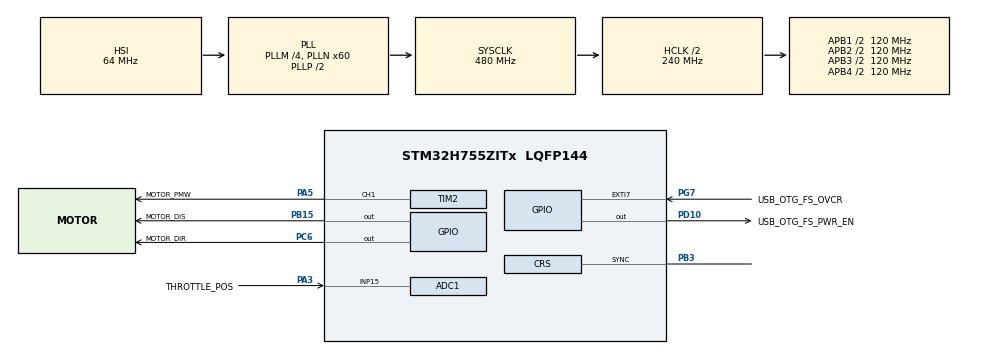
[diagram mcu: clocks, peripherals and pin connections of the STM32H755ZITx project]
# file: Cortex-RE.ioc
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ADC1.Channel-1\#ChannelRegularConversion=ADC_CHANNEL_15
ADC1.ContinuousConvMode=ENABLE
ADC1.NbrOfConversionFlag=1
ADC1.OffsetNumber-1\#ChannelRegularConversion=ADC_OFFSET_NONE
ADC1.OffsetSignedSaturation-1\#ChannelRegularConversion=DISABLE
ADC1.Rank-1\#ChannelRegularConversion=1
ADC1.SamplingTime-1\#ChannelRegularConversion=ADC_SAMPLETIME_1CYCLE_5
ADC1.master=1
CortexM4.IPs=FATFS_M4\:I,FREERTOS_M4\:I,IWDG2\:I,RCC,WWDG2\:I,DMA,BDMA,MDMA,NVIC2\:I,ETH,USART3,DEBUG,PDM2PCM_M4\:I,PWR,RESMGR_UTILITY,SYS_M4\:I,USB_DEVICE_M4\:I,USB_HOST_M4\:I,CORTEX_M4\:I,GPIO,OPENAMP_M4\:I,VREFBUF,NUCLEO-H755ZI-Q
CortexM7.IPs=FATFS_M7\:I,FREERTOS_M7\:I,IWDG1\:I,RCC\:I,WWDG1\:I,DMA\:I,BDMA\:I,MDMA\:I,NVIC1\:I,ETH\:I,USART3\:I,USB_OTG_FS\:I,USB_OTG_FS1\:I,SYS\:I,CORTEX_M7\:I,DEBUG\:I,PDM2PCM_M7\:I,PWR\:I,RESMGR_UTILITY\:I,USB_DEVICE_M7\:I,USB_HOST_M7\:I,GPIO\:I,OPENAMP_M7\:I,VREFBUF\:I,NUCLEO-H755ZI-Q\:I,ADC1\:I,TIM2\:I
CortexM7.Pins=PB15,PD10,PG7,PC6
Mcu.Family=STM32H7
Mcu.Name=STM32H755ZITx
Mcu.Package=LQFP144
NUCLEO-H755ZI-Q.BUTTON=1
NUCLEO-H755ZI-Q.LD1=true
NUCLEO-H755ZI-Q.LD2=true
NUCLEO-H755ZI-Q.LD3=true
NUCLEO-H755ZI-Q.VCP=true
NVIC1.EXTI15_10_IRQn=true\:0\:0\:false\:false\:true\:false\:true\:true
NVIC1.PriorityGroup=NVIC_PRIORITYGROUP_4
NVIC2.PriorityGroup=NVIC_PRIORITYGROUP_4
PA1.PinAttribute=CortexM7
PA1.Signal=ETH_REF_CLK
PA11.PinAttribute=CortexM7
PA11.Signal=USB_OTG_FS_DM
PA12.PinAttribute=CortexM7
PA12.Signal=USB_OTG_FS_DP
PA2.PinAttribute=CortexM7
PA2.Signal=ETH_MDIO
PA3.GPIO_Label=THROTTLE_POS
PA3.PinAttribute=CortexM7
PA3.Signal=ADCx_INP15
PA5.GPIO_Label=MOTOR_PMW
PA5.PinAttribute=CortexM7
PA5.Signal=S_TIM2_CH1_ETR
PA7.PinAttribute=CortexM7
PA7.Signal=ETH_CRS_DV
PA8.PinAttribute=CortexM7
PA8.Signal=USB_OTG_FS_SOF
PA9.PinAttribute=CortexM7
PA9.Signal=USB_OTG_FS_VBUS
PB13.PinAttribute=CortexM7
PB13.Signal=ETH_TXD1
PB15.GPIO_Label=MOTOR_DIS
PB15.PinAttribute=CortexM7
PB15.PinState=GPIO_PIN_SET
PB15.Signal=GPIO_Output
PB3\ (JTDO/TRACESWO).GPIO_Mode=GPIO_MODE_AF_PP
PB3\ (JTDO/TRACESWO).GPIO_PuPd=GPIO_NOPULL
PB3\ (JTDO/TRACESWO).GPIO_Speed=GPIO_SPEED_FREQ_LOW
PB3\ (JTDO/TRACESWO).Mode=CRS SYNC Source GPIO
PB3\ (JTDO/TRACESWO).PinAttribute=Free
PB3\ (JTDO/TRACESWO).Signal=CRS_SYNC
PC1.PinAttribute=CortexM7
PC1.Signal=ETH_MDC
PC14-OSC32_IN\ (OSC32_IN).Mode=LSE-External-Oscillator
PC14-OSC32_IN\ (OSC32_IN).PinAttribute=Free
PC14-OSC32_IN\ (OSC32_IN).Signal=RCC_OSC32_IN
PC15-OSC32_OUT\ (OSC32_OUT).Mode=LSE-External-Oscillator
PC15-OSC32_OUT\ (OSC32_OUT).PinAttribute=Free
PC15-OSC32_OUT\ (OSC32_OUT).Signal=RCC_OSC32_OUT
PC4.PinAttribute=CortexM7
PC4.Signal=ETH_RXD0
PC5.PinAttribute=CortexM7
PC5.Signal=ETH_RXD1
PC6.GPIO_Label=MOTOR_DIR
PC6.PinAttribute=CortexM7
PC6.Signal=GPIO_Output
PD10.GPIO_Label=USB_OTG_FS_PWR_EN
PD10.PinAttribute=CortexM7
PD10.Signal=GPIO_Output
PD8.Signal=USART3_TX
PD9.Signal=USART3_RX
PG11.PinAttribute=CortexM7
PG11.Signal=ETH_TX_EN
PG13.PinAttribute=CortexM7
PG13.Signal=ETH_TXD0
PG7.GPIO_Label=USB_OTG_FS_OVCR
PG7.PinAttribute=CortexM7
PG7.Signal=GPXTI7
PH0-OSC_IN\ (PH0).Mode=HSE-External-Oscillator
PH0-OSC_IN\ (PH0).PinAttribute=Free
PH0-OSC_IN\ (PH0).Signal=RCC_OSC_IN
PH1-OSC_OUT\ (PH1).Mode=HSE-External-Oscillator
PH1-OSC_OUT\ (PH1).PinAttribute=Free
PH1-OSC_OUT\ (PH1).Signal=RCC_OSC_OUT
ProjectManager.HeapSize=M4-0x200,M7-0x200
ProjectManager.StackSize=M4-0x400,M7-0x400
ProjectManager.TargetToolchain=STM32CubeIDE
RCC.ADCFreq_Value=80000000
RCC.APB1Freq_Value=120000000
RCC.APB2Freq_Value=120000000
RCC.APB3Freq_Value=120000000
RCC.APB4Freq_Value=120000000
RCC.CortexFreq_Value=480000000
RCC.D1PPRE=RCC_APB3_DIV2
RCC.D2PPRE1=RCC_APB1_DIV2
RCC.D2PPRE2=RCC_APB2_DIV2
RCC.D3PPRE=RCC_APB4_DIV2
RCC.DIVM1=4
RCC.DIVM2=4
RCC.DIVN1=60
RCC.DIVN2=10
RCC.HCLKFreq_Value=240000000
RCC.HPRE=RCC_HCLK_DIV2
RCC.PLL2FRACN=0
RCC.PLLFRACN=0
RCC.SYSCLKFreq_VALUE=480000000
RCC.SYSCLKSource=RCC_SYSCLKSOURCE_PLLCLK
RCC.USBFreq_Value=480000000
SH.ADCx_INP15.0=ADC1_INP15,IN15-Single-Ended
SH.S_TIM2_CH1_ETR.0=TIM2_CH1,PWM Generation1 CH1
TIM2.Channel-PWM\ Generation1\ CH1=TIM_CHANNEL_1
TIM2.Period=11999
TIM2.Prescaler=0
VP_NUCLEO-H755ZI-Q_VS_BSP_COMMON.Mode=COMMON
VP_SYS_M4_VS_Systick.Mode=SysTick
board=NUCLEO-H755ZI-Q

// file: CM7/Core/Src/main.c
/* USER CODE BEGIN Header */
/**
  ******************************************************************************
  * @file           : main.c
  * @brief          : Main program body
  ******************************************************************************
  * @attention
  *
  * Copyright (c) 2026 STMicroelectronics.
  * All rights reserved.
  *
  * This software is licensed under terms that can be found in the LICENSE file
  * in the root directory of this software component.
  * If no LICENSE file comes with this software, it is provided AS-IS.
  *
  ******************************************************************************
  */
/* USER CODE END Header */
#include "main.h"

/* USER CODE BEGIN Includes */
#include <stdio.h>
#include <stdlib.h>
#include <string.h>
/* USER CODE END Includes */

/* USER CODE BEGIN PD */

/* DUAL_CORE_BOOT_SYNC_SEQUENCE: Define for dual core boot synchronization    */
/*                             demonstration code based on hardware semaphore */
/* This define is present in both CM7/CM4 projects                            */
/* #define DUAL_CORE_BOOT_SYNC_SEQUENCE */

#if defined(DUAL_CORE_BOOT_SYNC_SEQUENCE)
#ifndef HSEM_ID_0
#define HSEM_ID_0 (0U) /* HW semaphore 0*/
#endif
#endif /* DUAL_CORE_BOOT_SYNC_SEQUENCE */

/* USER CODE END PD */

COM_InitTypeDef BspCOMInit;
ADC_HandleTypeDef hadc1;

TIM_HandleTypeDef htim2;

void SystemClock_Config(void);
static void MX_GPIO_Init(void);
static void MX_ADC1_Init(void);
static void MX_TIM2_Init(void);

/* USER CODE BEGIN 0 */
int __io_getchar(void) {
    uint8_t ch = 0;
    while (HAL_UART_Receive(&hcom_uart[COM1], &ch, 1, HAL_MAX_DELAY) != HAL_OK) {}
    // キーボードの入力を画面にそのままエコーバックする
    HAL_UART_Transmit(&hcom_uart[COM1], &ch, 1, 0xFFFF);
    return ch;
}
// モーターを動かす関数（引数は -100.0% 〜 100.0% のパワー）
void set_throttle_motor(float power_percent) {
    // 1. 回転方向（DIR）の決定
    if (power_percent > 0.0f) {
        // プラスなら開く方向 (環境に合わせてSET/RESETは逆にしてください)
        HAL_GPIO_WritePin(MOTOR_DIR_GPIO_Port, MOTOR_DIR_Pin, GPIO_PIN_SET);
    } else {
        // マイナスなら閉じる方向（バネに逆らって強制的に閉じる）
        HAL_GPIO_WritePin(MOTOR_DIR_GPIO_Port, MOTOR_DIR_Pin, GPIO_PIN_RESET);
        power_percent = -power_percent; // 計算用に絶対値（プラス）に戻す
    }

    // 2. パワーの限界値を100%に制限（安全装置）
    if (power_percent > 100.0f) {
        power_percent = 100.0f;
    }

    // 3. % を PWMのレジスタ値 (0 〜 999) に変換
    uint32_t pwm_value = (uint32_t)(11999.0f * (power_percent / 100.0f));

    // 4. タイマー（TIM2_CH1）の数値を更新してモーター出力！
    __HAL_TIM_SET_COMPARE(&htim2, TIM_CHANNEL_1, pwm_value);
}

/* USER CODE END 0 */

int main(void)
{

/* USER CODE BEGIN Boot_Mode_Sequence_0 */
#if defined(DUAL_CORE_BOOT_SYNC_SEQUENCE)
  int32_t timeout;
#endif /* DUAL_CORE_BOOT_SYNC_SEQUENCE */
/* USER CODE END Boot_Mode_Sequence_0 */

/* USER CODE BEGIN Boot_Mode_Sequence_1 */
#if defined(DUAL_CORE_BOOT_SYNC_SEQUENCE)
  /* Wait until CPU2 boots and enters in stop mode or timeout*/
  timeout = 0xFFFF;
  while((__HAL_RCC_GET_FLAG(RCC_FLAG_D2CKRDY) != RESET) && (timeout-- > 0));
  if ( timeout < 0 )
  {
  Error_Handler();
  }
#endif /* DUAL_CORE_BOOT_SYNC_SEQUENCE */
/* USER CODE END Boot_Mode_Sequence_1 */
  /* MCU Configuration--------------------------------------------------------*/

  /* Reset of all peripherals, Initializes the Flash interface and the Systick. */
  HAL_Init();

  /* Configure the system clock */
  SystemClock_Config();
/* USER CODE BEGIN Boot_Mode_Sequence_2 */
#if defined(DUAL_CORE_BOOT_SYNC_SEQUENCE)
/* When system initialization is finished, Cortex-M7 will release Cortex-M4 by means of
HSEM notification */
/*HW semaphore Clock enable*/
__HAL_RCC_HSEM_CLK_ENABLE();
/*Take HSEM */
HAL_HSEM_FastTake(HSEM_ID_0);
/*Release HSEM in order to notify the CPU2(CM4)*/
HAL_HSEM_Release(HSEM_ID_0,0);
/* wait until CPU2 wakes up from stop mode */
timeout = 0xFFFF;
while((__HAL_RCC_GET_FLAG(RCC_FLAG_D2CKRDY) == RESET) && (timeout-- > 0));
if ( timeout < 0 )
{
Error_Handler();
}
#endif /* DUAL_CORE_BOOT_SYNC_SEQUENCE */
/* USER CODE END Boot_Mode_Sequence_2 */

  /* Initialize all configured peripherals */
  MX_GPIO_Init();
  MX_ADC1_Init();
  MX_TIM2_Init();
  /* USER CODE BEGIN 2 */

  HAL_GPIO_WritePin(MOTOR_DIS_GPIO_Port, MOTOR_DIS_Pin, GPIO_PIN_SET);

  HAL_Delay(100);
// PWM信号の出力をスタート
  HAL_TIM_PWM_Start(&htim2, TIM_CHANNEL_1);

  // TLE9201のDISピンをLowにして、モーター駆動を「許可」する
  HAL_GPIO_WritePin(MOTOR_DIS_GPIO_Port, MOTOR_DIS_Pin, GPIO_PIN_RESET);

  printf("\r\n--- STM32H755ZI Benchmark Started ---\r\n");
  /* USER CODE END 2 */

  /* Initialize leds */
  BSP_LED_Init(LED_GREEN);
  BSP_LED_Init(LED_YELLOW);
  BSP_LED_Init(LED_RED);

  /* Initialize USER push-button, will be used to trigger an interrupt each time it's pressed.*/
  BSP_PB_Init(BUTTON_USER, BUTTON_MODE_EXTI);

  /* Initialize COM1 port (115200, 8 bits (7-bit data + 1 stop bit), no parity */
  BspCOMInit.BaudRate   = 115200;
  BspCOMInit.WordLength = COM_WORDLENGTH_8B;
  BspCOMInit.StopBits   = COM_STOPBITS_1;
  BspCOMInit.Parity     = COM_PARITY_NONE;
  BspCOMInit.HwFlowCtl  = COM_HWCONTROL_NONE;
  if (BSP_COM_Init(COM1, &BspCOMInit) != BSP_ERROR_NONE)
  {
    Error_Handler();
  }

  /* Infinite loop */
  /* USER CODE BEGIN WHILE */
  char input_buffer[16] = {0};
  int input_index = 0;

  while (1)
  {
      BSP_LED_Toggle(LED_GREEN);

      printf("Enter Target Power %% (-100 to 100): ");

      input_index = 0;
      memset(input_buffer, 0, 16);

      // 文字入力の待機と解析
      while (input_index < 15) {
          int c = __io_getchar(); // 1文字取得（待機）

          if (c == '\r' || c == '\n') { // Enterキーが押された
              printf("\n");
              break;
          }
          if (c == '\b' || c == 0x7F) { // Backspaceキー処理
              if (input_index > 0) {
                  input_index--;
                  printf(" \b"); // 画面上の文字を消す
              }
          } else {
              input_buffer[input_index++] = (char)c;
          }
      }

      // 入力された文字列を数値(int)に変換
      int target_power = atoi(input_buffer);

      // ユーザーが作成したモーター制御関数を呼び出す（floatにキャスト）
      set_throttle_motor((float)target_power);

      printf("-> Throttle set to: %d %%\r\n\r\n", target_power);

    /* USER CODE END WHILE */

  }
}

void SystemClock_Config(void)
{
  RCC_OscInitTypeDef RCC_OscInitStruct = {0};
  RCC_ClkInitTypeDef RCC_ClkInitStruct = {0};
  RCC_CRSInitTypeDef RCC_CRSInitStruct = {0};

  /** Supply configuration update enable
  */
  HAL_PWREx_ConfigSupply(PWR_LDO_SUPPLY);

  /** Configure the main internal regulator output voltage
  */
  __HAL_PWR_VOLTAGESCALING_CONFIG(PWR_REGULATOR_VOLTAGE_SCALE0);

  while(!__HAL_PWR_GET_FLAG(PWR_FLAG_VOSRDY)) {}

  /** Initializes the RCC Oscillators according to the specified parameters
  * in the RCC_OscInitTypeDef structure.
  */
  RCC_OscInitStruct.OscillatorType = RCC_OSCILLATORTYPE_HSI48|RCC_OSCILLATORTYPE_HSI;
  RCC_OscInitStruct.HSIState = RCC_HSI_DIV1;
  RCC_OscInitStruct.HSICalibrationValue = RCC_HSICALIBRATION_DEFAULT;
  RCC_OscInitStruct.HSI48State = RCC_HSI48_ON;
  RCC_OscInitStruct.PLL.PLLState = RCC_PLL_ON;
  RCC_OscInitStruct.PLL.PLLSource = RCC_PLLSOURCE_HSI;
  RCC_OscInitStruct.PLL.PLLM = 4;
  RCC_OscInitStruct.PLL.PLLN = 60;
  RCC_OscInitStruct.PLL.PLLP = 2;
  RCC_OscInitStruct.PLL.PLLQ = 2;
  RCC_OscInitStruct.PLL.PLLR = 2;
  RCC_OscInitStruct.PLL.PLLRGE = RCC_PLL1VCIRANGE_3;
  RCC_OscInitStruct.PLL.PLLVCOSEL = RCC_PLL1VCOWIDE;
  RCC_OscInitStruct.PLL.PLLFRACN = 0;
  if (HAL_RCC_OscConfig(&RCC_OscInitStruct) != HAL_OK)
  {
    Error_Handler();
  }

  /** Initializes the CPU, AHB and APB buses clocks
  */
  RCC_ClkInitStruct.ClockType = RCC_CLOCKTYPE_HCLK|RCC_CLOCKTYPE_SYSCLK
                              |RCC_CLOCKTYPE_PCLK1|RCC_CLOCKTYPE_PCLK2
                              |RCC_CLOCKTYPE_D3PCLK1|RCC_CLOCKTYPE_D1PCLK1;
  RCC_ClkInitStruct.SYSCLKSource = RCC_SYSCLKSOURCE_PLLCLK;
  RCC_ClkInitStruct.SYSCLKDivider = RCC_SYSCLK_DIV1;
  RCC_ClkInitStruct.AHBCLKDivider = RCC_HCLK_DIV2;
  RCC_ClkInitStruct.APB3CLKDivider = RCC_APB3_DIV2;
  RCC_ClkInitStruct.APB1CLKDivider = RCC_APB1_DIV2;
  RCC_ClkInitStruct.APB2CLKDivider = RCC_APB2_DIV2;
  RCC_ClkInitStruct.APB4CLKDivider = RCC_APB4_DIV2;

  if (HAL_RCC_ClockConfig(&RCC_ClkInitStruct, FLASH_LATENCY_4) != HAL_OK)
  {
    Error_Handler();
  }

  /** Enable the SYSCFG APB clock
  */
  __HAL_RCC_CRS_CLK_ENABLE();

  /** Configures CRS
  */
  RCC_CRSInitStruct.Prescaler = RCC_CRS_SYNC_DIV1;
  RCC_CRSInitStruct.Source = RCC_CRS_SYNC_SOURCE_PIN;
  RCC_CRSInitStruct.Polarity = RCC_CRS_SYNC_POLARITY_RISING;
  RCC_CRSInitStruct.ReloadValue = __HAL_RCC_CRS_RELOADVALUE_CALCULATE(48000000,1);
  RCC_CRSInitStruct.ErrorLimitValue = 34;
  RCC_CRSInitStruct.HSI48CalibrationValue = 32;

  HAL_RCCEx_CRSConfig(&RCC_CRSInitStruct);
}

static void MX_ADC1_Init(void)
{

  ADC_MultiModeTypeDef multimode = {0};
  ADC_ChannelConfTypeDef sConfig = {0};

  /** Common config
  */
  hadc1.Instance = ADC1;
  hadc1.Init.ClockPrescaler = ADC_CLOCK_ASYNC_DIV1;
  hadc1.Init.Resolution = ADC_RESOLUTION_16B;
  hadc1.Init.ScanConvMode = ADC_SCAN_DISABLE;
  hadc1.Init.EOCSelection = ADC_EOC_SINGLE_CONV;
  hadc1.Init.LowPowerAutoWait = DISABLE;
  hadc1.Init.ContinuousConvMode = ENABLE;
  hadc1.Init.NbrOfConversion = 1;
  hadc1.Init.DiscontinuousConvMode = DISABLE;
  hadc1.Init.ExternalTrigConv = ADC_SOFTWARE_START;
  hadc1.Init.ExternalTrigConvEdge = ADC_EXTERNALTRIGCONVEDGE_NONE;
  hadc1.Init.ConversionDataManagement = ADC_CONVERSIONDATA_DR;
  hadc1.Init.Overrun = ADC_OVR_DATA_PRESERVED;
  hadc1.Init.LeftBitShift = ADC_LEFTBITSHIFT_NONE;
  hadc1.Init.OversamplingMode = DISABLE;
  hadc1.Init.Oversampling.Ratio = 1;
  if (HAL_ADC_Init(&hadc1) != HAL_OK)
  {
    Error_Handler();
  }

  /** Configure the ADC multi-mode
  */
  multimode.Mode = ADC_MODE_INDEPENDENT;
  if (HAL_ADCEx_MultiModeConfigChannel(&hadc1, &multimode) != HAL_OK)
  {
    Error_Handler();
  }

  /** Configure Regular Channel
  */
  sConfig.Channel = ADC_CHANNEL_15;
  sConfig.Rank = ADC_REGULAR_RANK_1;
  sConfig.SamplingTime = ADC_SAMPLETIME_1CYCLE_5;
  sConfig.SingleDiff = ADC_SINGLE_ENDED;
  sConfig.OffsetNumber = ADC_OFFSET_NONE;
  sConfig.Offset = 0;
  sConfig.OffsetSignedSaturation = DISABLE;
  if (HAL_ADC_ConfigChannel(&hadc1, &sConfig) != HAL_OK)
  {
    Error_Handler();
  }

}

static void MX_TIM2_Init(void)
{

  TIM_MasterConfigTypeDef sMasterConfig = {0};
  TIM_OC_InitTypeDef sConfigOC = {0};

  htim2.Instance = TIM2;
  htim2.Init.Prescaler = 0;
  htim2.Init.CounterMode = TIM_COUNTERMODE_UP;
  htim2.Init.Period = 11999;
  htim2.Init.ClockDivision = TIM_CLOCKDIVISION_DIV1;
  htim2.Init.AutoReloadPreload = TIM_AUTORELOAD_PRELOAD_DISABLE;
  if (HAL_TIM_PWM_Init(&htim2) != HAL_OK)
  {
    Error_Handler();
  }
  sMasterConfig.MasterOutputTrigger = TIM_TRGO_RESET;
  sMasterConfig.MasterSlaveMode = TIM_MASTERSLAVEMODE_DISABLE;
  if (HAL_TIMEx_MasterConfigSynchronization(&htim2, &sMasterConfig) != HAL_OK)
  {
    Error_Handler();
  }
  sConfigOC.OCMode = TIM_OCMODE_PWM1;
  sConfigOC.Pulse = 0;
  sConfigOC.OCPolarity = TIM_OCPOLARITY_HIGH;
  sConfigOC.OCFastMode = TIM_OCFAST_DISABLE;
  if (HAL_TIM_PWM_ConfigChannel(&htim2, &sConfigOC, TIM_CHANNEL_1) != HAL_OK)
  {
    Error_Handler();
  }
  HAL_TIM_MspPostInit(&htim2);

}

static void MX_GPIO_Init(void)
{
  GPIO_InitTypeDef GPIO_InitStruct = {0};

  /* GPIO Ports Clock Enable */
  __HAL_RCC_GPIOC_CLK_ENABLE();
  __HAL_RCC_GPIOA_CLK_ENABLE();
  __HAL_RCC_GPIOB_CLK_ENABLE();
  __HAL_RCC_GPIOD_CLK_ENABLE();
  __HAL_RCC_GPIOG_CLK_ENABLE();

  /*Configure GPIO pin Output Level */
  HAL_GPIO_WritePin(MOTOR_DIS_GPIO_Port, MOTOR_DIS_Pin, GPIO_PIN_SET);

  /*Configure GPIO pin Output Level */
  HAL_GPIO_WritePin(USB_OTG_FS_PWR_EN_GPIO_Port, USB_OTG_FS_PWR_EN_Pin, GPIO_PIN_RESET);

  /*Configure GPIO pin Output Level */
  HAL_GPIO_WritePin(MOTOR_DIR_GPIO_Port, MOTOR_DIR_Pin, GPIO_PIN_RESET);

  /*Configure GPIO pins : PC1 PC4 PC5 */
  GPIO_InitStruct.Pin = GPIO_PIN_1|GPIO_PIN_4|GPIO_PIN_5;
  GPIO_InitStruct.Mode = GPIO_MODE_AF_PP;
  GPIO_InitStruct.Pull = GPIO_NOPULL;
  GPIO_InitStruct.Speed = GPIO_SPEED_FREQ_HIGH;
  GPIO_InitStruct.Alternate = GPIO_AF11_ETH;
  HAL_GPIO_Init(GPIOC, &GPIO_InitStruct);

  /*Configure GPIO pins : PA1 PA2 PA7 */
  GPIO_InitStruct.Pin = GPIO_PIN_1|GPIO_PIN_2|GPIO_PIN_7;
  GPIO_InitStruct.Mode = GPIO_MODE_AF_PP;
  GPIO_InitStruct.Pull = GPIO_NOPULL;
  GPIO_InitStruct.Speed = GPIO_SPEED_FREQ_HIGH;
  GPIO_InitStruct.Alternate = GPIO_AF11_ETH;
  HAL_GPIO_Init(GPIOA, &GPIO_InitStruct);

  /*Configure GPIO pin : PB13 */
  GPIO_InitStruct.Pin = GPIO_PIN_13;
  GPIO_InitStruct.Mode = GPIO_MODE_AF_PP;
  GPIO_InitStruct.Pull = GPIO_NOPULL;
  GPIO_InitStruct.Speed = GPIO_SPEED_FREQ_HIGH;
  GPIO_InitStruct.Alternate = GPIO_AF11_ETH;
  HAL_GPIO_Init(GPIOB, &GPIO_InitStruct);

  /*Configure GPIO pin : MOTOR_DIS_Pin */
  GPIO_InitStruct.Pin = MOTOR_DIS_Pin;
  GPIO_InitStruct.Mode = GPIO_MODE_OUTPUT_PP;
  GPIO_InitStruct.Pull = GPIO_NOPULL;
  GPIO_InitStruct.Speed = GPIO_SPEED_FREQ_LOW;
  HAL_GPIO_Init(MOTOR_DIS_GPIO_Port, &GPIO_InitStruct);

  /*Configure GPIO pin : USB_OTG_FS_PWR_EN_Pin */
  GPIO_InitStruct.Pin = USB_OTG_FS_PWR_EN_Pin;
  GPIO_InitStruct.Mode = GPIO_MODE_OUTPUT_PP;
  GPIO_InitStruct.Pull = GPIO_NOPULL;
  GPIO_InitStruct.Speed = GPIO_SPEED_FREQ_LOW;
  HAL_GPIO_Init(USB_OTG_FS_PWR_EN_GPIO_Port, &GPIO_InitStruct);

  /*Configure GPIO pin : USB_OTG_FS_OVCR_Pin */
  GPIO_InitStruct.Pin = USB_OTG_FS_OVCR_Pin;
  GPIO_InitStruct.Mode = GPIO_MODE_IT_RISING;
  GPIO_InitStruct.Pull = GPIO_NOPULL;
  HAL_GPIO_Init(USB_OTG_FS_OVCR_GPIO_Port, &GPIO_InitStruct);

  /*Configure GPIO pin : MOTOR_DIR_Pin */
  GPIO_InitStruct.Pin = MOTOR_DIR_Pin;
  GPIO_InitStruct.Mode = GPIO_MODE_OUTPUT_PP;
  GPIO_InitStruct.Pull = GPIO_NOPULL;
  GPIO_InitStruct.Speed = GPIO_SPEED_FREQ_LOW;
  HAL_GPIO_Init(MOTOR_DIR_GPIO_Port, &GPIO_InitStruct);

  /*Configure GPIO pins : PA8 PA11 PA12 */
  GPIO_InitStruct.Pin = GPIO_PIN_8|GPIO_PIN_11|GPIO_PIN_12;
  GPIO_InitStruct.Mode = GPIO_MODE_AF_PP;
  GPIO_InitStruct.Pull = GPIO_NOPULL;
  GPIO_InitStruct.Speed = GPIO_SPEED_FREQ_LOW;
  GPIO_InitStruct.Alternate = GPIO_AF10_OTG1_FS;
  HAL_GPIO_Init(GPIOA, &GPIO_InitStruct);

  /*Configure GPIO pins : PG11 PG13 */
  GPIO_InitStruct.Pin = GPIO_PIN_11|GPIO_PIN_13;
  GPIO_InitStruct.Mode = GPIO_MODE_AF_PP;
  GPIO_InitStruct.Pull = GPIO_NOPULL;
  GPIO_InitStruct.Speed = GPIO_SPEED_FREQ_HIGH;
  GPIO_InitStruct.Alternate = GPIO_AF11_ETH;
  HAL_GPIO_Init(GPIOG, &GPIO_InitStruct);

}

void Error_Handler(void)
{
  __disable_irq();
  while (1)
  {
  }
}
